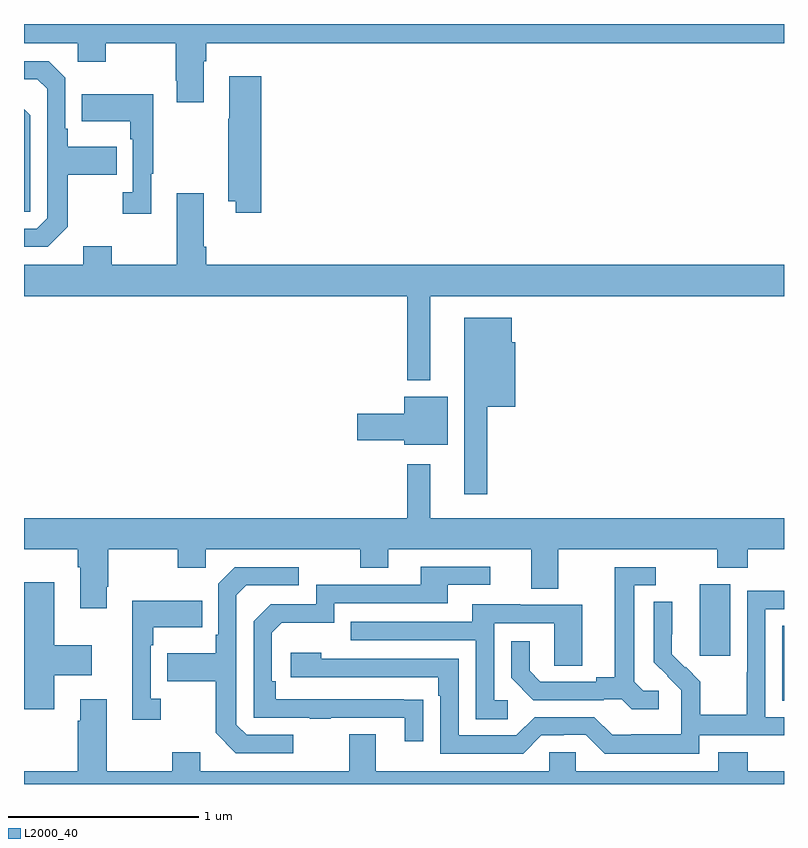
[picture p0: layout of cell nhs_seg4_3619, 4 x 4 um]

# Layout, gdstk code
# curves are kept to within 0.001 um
import gdstk
lib = gdstk.Library(unit=1e-6, precision=1e-09)
def R(c, l, rs):  # rectangles x0, y0, x1, y1
    for r in rs: c.add(gdstk.rectangle(r[:2], r[2:], *l))
def P(c, l, *ps):  # polygons
    for p in ps: c.add(gdstk.Polygon(p, *l))
L2000_40 = (2000, 40)

nhs_seg4_3619 = lib.new_cell('nhs_seg4_3619')
R(nhs_seg4_3619, L2000_40, [(304.991,813.337,305,813.734), (304.556,813.576,304.717,813.952)])
P(nhs_seg4_3619, L2000_40, [(301.945,816.704),(301.958,816.704),(301.958,816.8),(305,816.8),(305,816.9),(301,816.9),(301,816.8),(301.284,816.8),(301.284,816.701),(301.431,816.701),(301.431,816.8),(301.798,816.8),(301.798,816.601),(301.805,816.601),(301.805,816.489),(301.945,816.489)],
  [(301.231,815.833),(301.231,816.106),(301.487,816.106),(301.487,816.253),(301.231,816.253),(301.231,816.349),(301.218,816.349),(301.218,816.618),(301.131,816.705),(301,816.705),(301,816.609),(301.071,816.609),(301.122,816.558),(301.122,815.877),(301.068,815.823),(301,815.823),(301,815.727),(301.125,815.727)],
  [(302.249,816.625),(302.081,816.625),(302.081,816.401),(302.074,816.401),(302.074,815.966),(302.114,815.966),(302.114,815.907),(302.249,815.907)],
  [(301.669,816.113),(301.681,816.113),(301.681,816.529),(301.303,816.529),(301.303,816.389),(301.56,816.389),(301.56,816.293),(301.572,816.293),(301.572,816.014),(301.521,816.014),(301.521,815.901),(301.669,815.901)],
  [(301.032,816.42),(301,816.452),(301,815.913),(301.032,815.913)],
  [(303.139,815.468),(305,815.468),(305,815.632),(301.958,815.632),(301.958,815.728),(301.945,815.728),(301.945,816.01),(301.805,816.01),(301.805,815.632),(301.461,815.632),(301.461,815.731),(301.313,815.731),(301.313,815.632),(301,815.632),(301,815.468),(303.018,815.468),(303.018,815.024),(303.139,815.024)],
  [(303.439,814.886),(303.586,814.886),(303.586,815.226),(303.568,815.226),(303.568,815.353),(303.317,815.353),(303.317,814.425),(303.439,814.425)],
  [(303.229,814.939),(303.002,814.939),(303.002,814.85),(302.754,814.85),(302.754,814.708),(303.002,814.708),(303.002,814.685),(303.229,814.685)],
  [(301.435,813.937),(301.443,813.937),(301.443,814.136),(301.81,814.136),(301.81,814.037),(301.956,814.037),(301.956,814.136),(302.77,814.136),(302.77,814.037),(302.917,814.037),(302.917,814.136),(303.671,814.136),(303.671,813.928),(303.811,813.928),(303.811,814.136),(304.648,814.136),(304.648,814.037),(304.808,814.037),(304.808,814.136),(305,814.136),(305,814.3),(303.139,814.3),(303.139,814.582),(303.018,814.582),(303.018,814.3),(301,814.3),(301,814.136),(301.283,814.136),(301.283,814.04),(301.295,814.04),(301.295,813.825),(301.435,813.825)],
  [(303.101,813.344),(302.324,813.345),(302.324,813.442),(302.304,813.442),(302.304,813.696),(302.357,813.749),(302.634,813.749),(302.634,813.852),(303.229,813.852),(303.229,813.948),(303.454,813.948),(303.454,814.044),(303.089,814.044),(303.089,813.948),(302.538,813.948),(302.538,813.846),(302.298,813.846),(302.208,813.756),(302.208,813.249),(302.503,813.249),(302.503,813.244),(302.615,813.244),(302.615,813.249),(303.005,813.249),(303.005,813.126),(303.101,813.126)],
  [(304.342,813.39),(304.26,813.39),(304.213,813.437),(304.213,813.945),(304.324,813.945),(304.324,814.041),(304.109,814.041),(304.109,813.461),(304.013,813.461),(304.013,813.438),(303.718,813.438),(303.661,813.495),(303.661,813.652),(303.564,813.652),(303.564,813.458),(303.68,813.342),(304.052,813.342),(304.052,813.345),(304.146,813.345),(304.198,813.293),(304.342,813.293)],
  [(302.416,813.159),(302.172,813.159),(302.118,813.213),(302.118,813.894),(302.169,813.945),(302.446,813.945),(302.446,814.041),(302.109,814.041),(302.022,813.954),(302.022,813.685),(302.01,813.685),(302.01,813.589),(301.753,813.589),(301.753,813.442),(302.01,813.442),(302.01,813.169),(302.115,813.063),(302.416,813.063)],
  [(301.159,813.473),(301.357,813.473),(301.357,813.631),(301.159,813.631),(301.159,813.961),(301,813.961),(301,813.294),(301.159,813.294)],
  [(304.554,813.156),(305,813.156),(305,813.252),(304.902,813.252),(304.902,813.819),(305,813.819),(305,813.918),(304.806,813.918),(304.806,813.488),(304.804,813.488),(304.804,813.265),(304.559,813.265),(304.559,813.439),(304.482,813.516),(304.479,813.513),(304.409,813.584),(304.409,813.688),(304.411,813.688),(304.411,813.86),(304.314,813.86),(304.314,813.542),(304.46,813.394),(304.46,813.297),(304.458,813.297),(304.458,813.163),(304.195,813.163),(304.195,813.159),(304.095,813.159),(304.002,813.252),(303.687,813.252),(303.591,813.156),(303.288,813.156),(303.288,813.558),(302.564,813.558),(302.564,813.592),(302.403,813.592),(302.403,813.462),(303.179,813.462),(303.179,813.365),(303.192,813.365),(303.192,813.06),(303.627,813.06),(303.723,813.156),(303.842,813.156),(303.842,813.159),(303.957,813.159),(304.057,813.059),(304.554,813.059)],
  [(301.72,813.35),(301.668,813.35),(301.668,813.629),(301.681,813.629),(301.681,813.725),(301.937,813.725),(301.937,813.865),(301.571,813.865),(301.571,813.237),(301.72,813.237)],
  [(303.547,813.342),(303.474,813.342),(303.474,813.747),(303.792,813.747),(303.792,813.523),(303.937,813.523),(303.937,813.843),(303.613,813.843),(303.613,813.847),(303.359,813.847),(303.359,813.753),(302.719,813.753),(302.719,813.657),(303.378,813.657),(303.378,813.241),(303.547,813.241)],
  [(305,812.968),(304.808,812.968),(304.808,813.067),(304.655,813.067),(304.655,812.968),(303.903,812.968),(303.903,813.066),(303.765,813.066),(303.765,812.968),(302.851,812.968),(302.851,813.163),(302.711,813.163),(302.711,812.968),(301.927,812.968),(301.927,813.067),(301.78,813.067),(301.78,812.968),(301.435,812.968),(301.435,813.346),(301.295,813.346),(301.295,813.233),(301.283,813.233),(301.283,812.968),(301,812.968),(301,812.9),(305,812.9)])

lib.write_gds('nhs_seg4_3619.gds')
